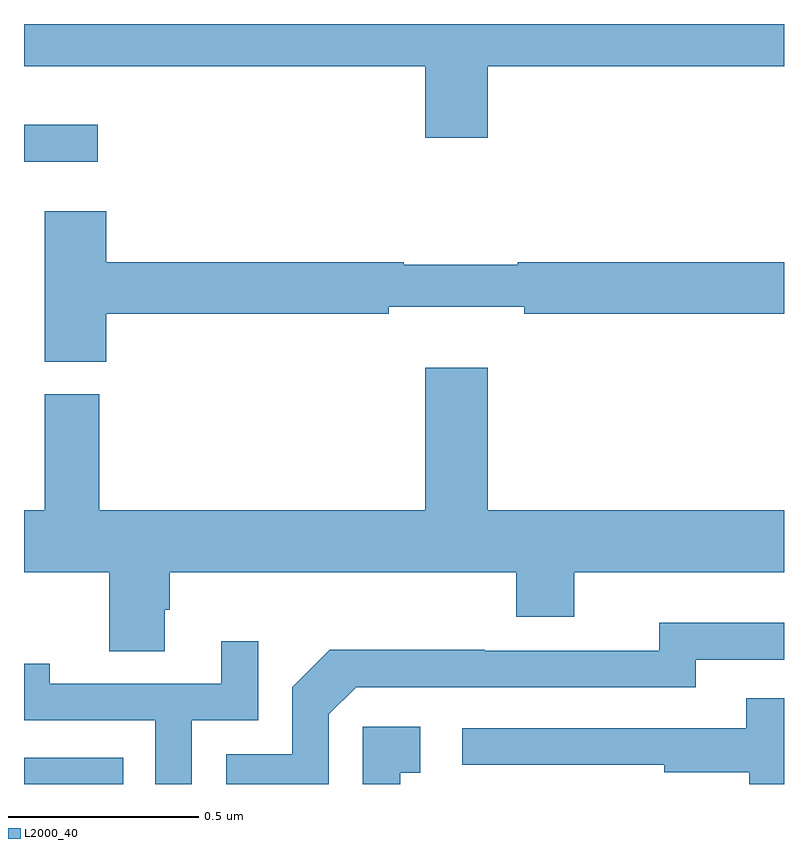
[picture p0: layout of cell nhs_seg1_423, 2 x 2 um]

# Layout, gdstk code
import gdstk
lib = gdstk.Library(unit=1e-6, precision=1e-09)
def R(c, l, rs):  # rectangles x0, y0, x1, y1
    for r in rs: c.add(gdstk.rectangle(r[:2], r[2:], *l))
def P(c, l, *ps):  # polygons
    for p in ps: c.add(gdstk.Polygon(p, *l))
L2000_40 = (2000, 40)

nhs_seg1_423 = lib.new_cell('nhs_seg1_423')
R(nhs_seg1_423, L2000_40, [(116,527.199,116.261,527.268), (116,528.836,116.194,528.934)])
P(nhs_seg1_423, L2000_40, [(117.22,529.088),(118,529.088),(118,529.199),(116,529.199),(116,529.088),(117.056,529.088),(117.056,528.9),(117.22,528.9)],
  [(116.216,528.436),(116.96,528.436),(116.96,528.455),(117.316,528.455),(117.316,528.436),(118,528.436),(118,528.572),(117.299,528.572),(117.299,528.565),(116.999,528.565),(116.999,528.572),(116.216,528.572),(116.216,528.706),(116.055,528.706),(116.055,528.593),(116.054,528.593),(116.054,528.31),(116.216,528.31)],
  [(116.371,527.658),(116.384,527.658),(116.384,527.756),(117.296,527.756),(117.296,527.639),(117.448,527.639),(117.448,527.756),(118,527.756),(118,527.92),(117.22,527.92),(117.22,528.295),(117.056,528.295),(117.056,527.92),(116.198,527.92),(116.198,528.225),(116.054,528.225),(116.054,527.92),(116,527.92),(116,527.756),(116.224,527.756),(116.224,527.548),(116.371,527.548)],
  [(116.802,527.382),(116.874,527.454),(117.768,527.454),(117.768,527.526),(118,527.526),(118,527.623),(117.672,527.623),(117.672,527.55),(117.212,527.55),(117.212,527.552),(116.804,527.552),(116.706,527.454),(116.706,527.277),(116.532,527.277),(116.532,527.199),(116.802,527.199)],
  [(116.442,527.367),(116.616,527.367),(116.616,527.575),(116.519,527.575),(116.519,527.463),(116.068,527.463),(116.068,527.515),(116,527.515),(116,527.367),(116.346,527.367),(116.346,527.199),(116.442,527.199)],
  [(118,527.425),(117.901,527.425),(117.901,527.346),(117.153,527.346),(117.153,527.25),(117.685,527.25),(117.685,527.23),(117.909,527.23),(117.909,527.199),(118,527.199)],
  [(116.99,527.229),(117.043,527.229),(117.043,527.35),(116.892,527.35),(116.892,527.199),(116.99,527.199)])

lib.write_gds('nhs_seg1_423.gds')
